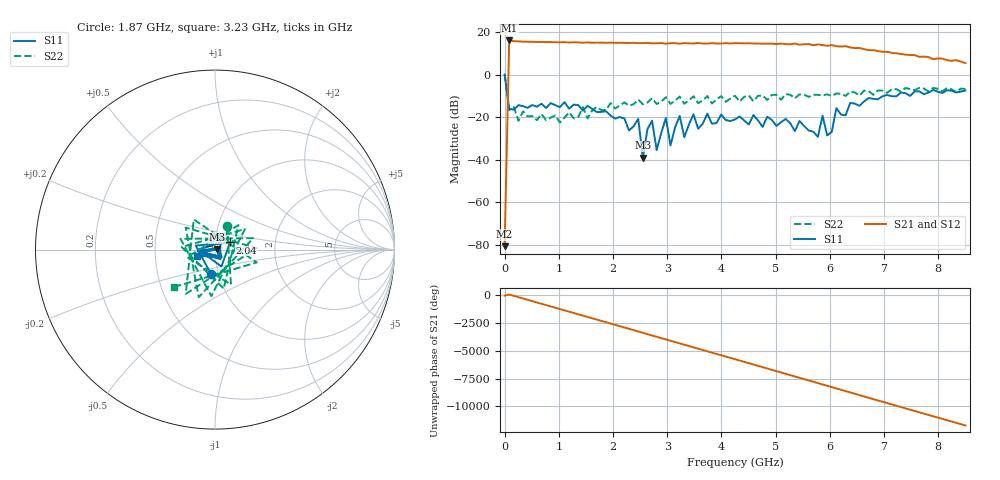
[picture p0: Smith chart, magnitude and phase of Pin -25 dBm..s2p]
! RsaToolbox (C) 2013 Rohde & Schwarz America
! Number of points: 101
! Number of ports: 2
! Balanced ports?: 0
# Hz S RI R 50
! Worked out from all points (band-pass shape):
!   101 points, 9 kHz to 8.5 GHz, reference 50 ohm
!   highest |S21| = 16.10 dB at 85.01 MHz (marker M1); lowest = -80.7 dB at 9 kHz (marker M2)
!   |S21| within 3 dB of the highest: 82.37 MHz to 6.335 GHz (6.253 GHz wide, 195 % of centre)
!   lowest |S11| = -39.1 dB at 2.55 GHz (marker M3), VSWR 1.02, Z = 51.1 + j0.2 ohm
!   |S11| at or under -10 dB: 53.51 MHz to 6.993 GHz (6.939 GHz wide, 197 % of centre); 7.121 GHz to 7.235 GHz (113.1 MHz wide, 1.58 % of centre)
!   |S22| runs from -22.5 to 0.3 dB; largest |S21 - S12| = 0
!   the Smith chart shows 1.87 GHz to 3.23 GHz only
!   S11 on the Smith chart (normalised r, x): 1.87 GHz: 0.92, -0.26; 2.04 GHz: 1.18, +0.09; 3.23 GHz: 0.81, -0.05
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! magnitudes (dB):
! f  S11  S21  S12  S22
! 9 kHz  0.1  -80.7  -80.7  0.3
! 85.01 MHz  -15.9  16.1  16.1  -16.7
! 1.02 GHz  -15.3  15.2  15.2  -22.5
! 1.445 GHz  -16.9  15.1  15.1  -15.3
! 1.87 GHz  -17.2  15.0  15.0  -16.6
! 2.04 GHz  -20.7  15.0  15.0  -15.9
! 2.465 GHz  -20.8  14.8  14.8  -11.7
! 2.55 GHz  -39.1  14.9  14.9  -13.9
! 2.72 GHz  -21.6  14.7  14.7  -11.1
! 2.805 GHz  -35.5  14.8  14.8  -13.8
! 2.89 GHz  -27.4  14.9  14.9  -12.7
! 2.975 GHz  -20.3  14.6  14.6  -10.6
! 3.06 GHz  -33.3  14.8  14.8  -13.7
! 3.23 GHz  -19.4  14.6  14.6  -10.3
! 3.315 GHz  -29.4  14.8  14.8  -13.7
! 3.485 GHz  -18.7  14.7  14.7  -10.2
! 3.57 GHz  -25.4  14.9  14.9  -13.4
! 4.25 GHz  -21.0  14.8  14.8  -9.9
! 5.695 GHz  -26.8  13.8  13.8  -9.5
! 6.12 GHz  -15.7  13.4  13.4  -8.8
! 7.14 GHz  -10.1  10.3  10.3  -6.9
! 8.5 GHz  -7.4  5.5  5.5  -6.7
